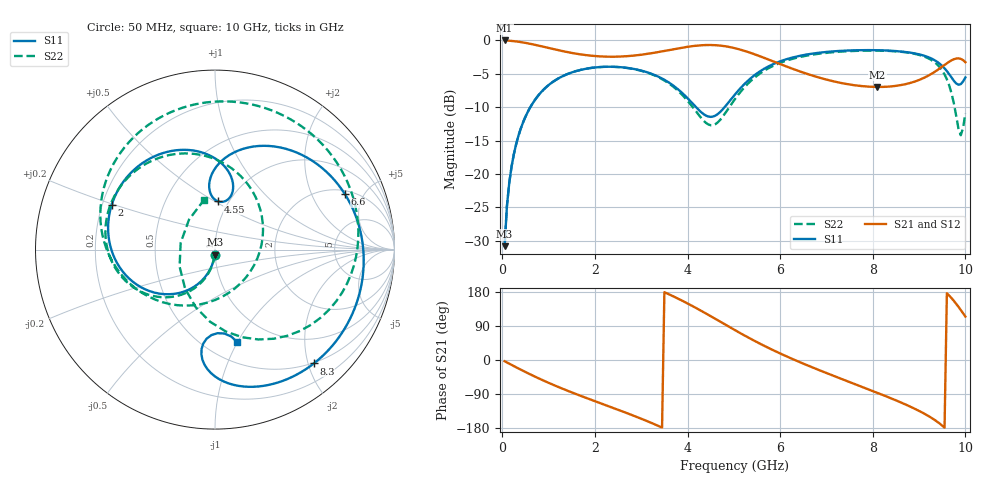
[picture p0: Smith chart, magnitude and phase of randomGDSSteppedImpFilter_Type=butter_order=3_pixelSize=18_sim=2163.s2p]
! freq	dB(S11)	phase(S11)	dB(S12)	phase(S12)
!  dB(S21)	phase(S21)	dB(S22)	phase(S22)
!S-par simulation data
#  GHz  S  DB  R 50
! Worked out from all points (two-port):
!   200 points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, 50 MHz to 10 GHz, reference 50 ohm
!   highest |S21| = -0.01 dB at 50 MHz (marker M1); lowest = -7.0 dB at 8.1 GHz (marker M2)
!   |S21| within 3 dB of the highest: start of sweep to 5.802 GHz; 9.695 GHz to 9.959 GHz (264 MHz wide, 2.69 % of centre)
!   lowest |S11| = -30.8 dB at 50 MHz (marker M3), VSWR 1.06, Z = 49.7 - j2.86 ohm
!   |S11| at or under -10 dB: start of sweep to 605.3 MHz; 4.185 GHz to 4.8 GHz (615.4 MHz wide, 13.7 % of centre)
!   |S22| runs from -30.8 to -1.5 dB; largest |S21 - S12| = 0
!   S11 on the Smith chart (normalised r, x): 50 MHz: 0.99, -0.06; 2 GHz: 0.24, +0.20; 4.55 GHz: 0.90, +0.52; 6.6 GHz: 2.21, +3.60; 8.3 GHz: 0.49, -2.10; 10 GHz: 0.70, -0.99
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0.05  -30.81 -93.5  -0.01 -3.3  -0.01 -3.3  -30.80 -93.2
0.2  -18.90 -103.9  -0.08 -12.9  -0.08 -12.9  -18.90 -102.9
0.5  -11.43 -123.4  -0.37 -31.7  -0.37 -31.7  -11.42 -121.0
1.05  -6.42 -155.9  -1.21 -62.9  -1.21 -62.9  -6.42 -151.0
1.75  -4.32 168.4  -2.15 -97.2  -2.15 -97.2  -4.32 176.1
2  -4.05 156.7  -2.34 -108.7  -2.34 -108.7  -4.06 165.1
3.4  -5.53 94.0  -1.70 -175.5  -1.70 -175.5  -5.61 95.7
4  -8.65 74.1  -0.96 149.2  -0.96 149.2  -9.03 47.1
4.55  -11.40 86.1  -0.70 112.1  -0.70 112.1  -12.69 -42.2
5.05  -7.88 93.5  -1.21 76.9  -1.21 76.9  -8.54 -124.1
5.8  -3.71 62.3  -3.00 28.8  -3.00 28.8  -3.98 172.5
6.6  -2.08 23.1  -5.05 -14.7  -5.05 -14.7  -2.25 126.2
6.7  -1.97 18.5  -5.27 -19.7  -5.27 -19.7  -2.13 121.0
7.4  -1.53 -12.6  -6.48 -53.5  -6.48 -53.5  -1.64 85.7
8.1  -1.47 -41.2  -6.97 -86.6  -6.97 -86.6  -1.53 49.5
8.3  -1.51 -49.1  -6.94 -96.4  -6.94 -96.4  -1.56 38.4
8.35  -1.53 -51.0  -6.91 -98.9  -6.91 -98.9  -1.58 35.6
9  -2.08 -76.3  -5.92 -134.3  -5.92 -134.3  -2.17 -6.5
9.5  -3.83 -95.2  -3.93 -173.0  -3.93 -173.0  -4.52 -56.7
9.8  -6.43 -92.4  -2.71 148.6  -2.71 148.6  -11.24 -127.4
9.9  -6.55 -83.6  -2.76 132.0  -2.76 132.0  -14.20 168.7
10  -5.55 -76.6  -3.26 114.7  -3.26 114.7  -10.94 102.3
